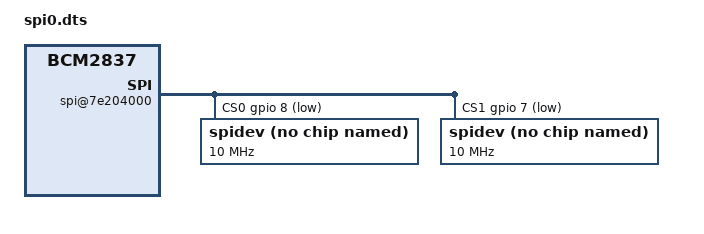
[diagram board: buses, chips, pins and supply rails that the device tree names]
/dts-v1/;
/plugin/;

/ {
    compatible = "brcm,bcm2837";

    fragment@0 {
        target-path = "/soc/gpio@7e200000";
        __overlay__ {
            alt0 {
                brcm,pins = <4 5 14 15 18 19 20 21>;
                brcm,function = <4>;
            };

            spi0_bus_pins: spi0_bus_pins {
                brcm,pins = <9 10 11>;
                brcm,function = <4>;
            };
        };
    };

    fragment@1 {
        target-path = "/soc/spi@7e204000";
        __overlay__ {
            #address-cells = <1>;
            #size-cells = <0>;
            status = "okay";
            pinctrl-names = "default";
            pinctrl-0 = <&spi0_bus_pins>;
            cs-gpios = <&gpio 8 1>, <&gpio 7 1>;

            spidev@0 {
                compatible = "rohm,dh2228fv";
                reg = <0>;
                spi-max-frequency = <10000000>;
            };

            spidev@1 {
                compatible = "rohm,dh2228fv";
                reg = <1>;
                spi-max-frequency = <10000000>;
            };
        };
    };
};
